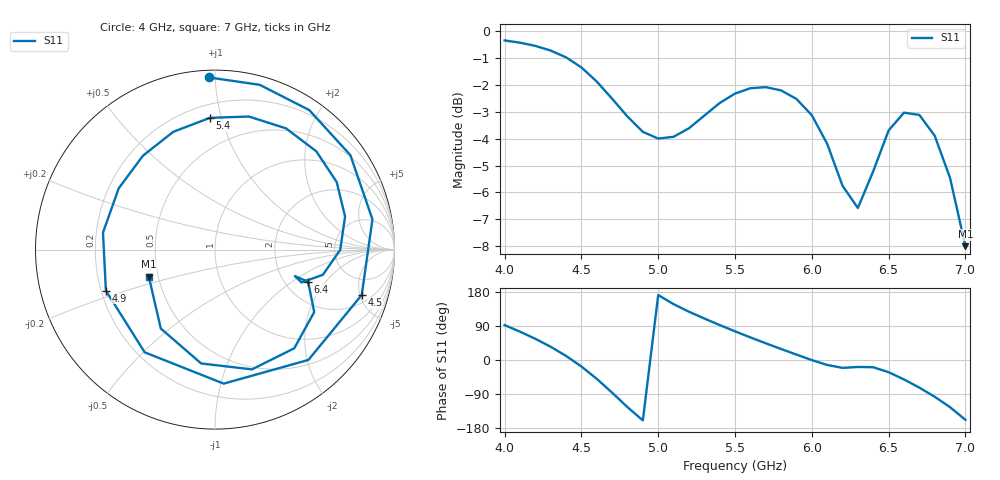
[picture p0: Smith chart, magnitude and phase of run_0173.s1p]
! Touchstone file exported from HFSS 2024.2.0
!  File:  C:/Users/wsak9/Desktop/Sim Fast/Widenad Patch/WP_AI_V1_sweep.aedt
!  Generated:  10:09:31 PM Oct 13, 2026
!  Design:  A1_model
!  Project:  WP_AI_V1_sweep
!  Setup:  Setup1
!  Solution:  Sweep
! Variables:
!  Air_gap = 2.89mm
!  Curve_Amp1 = 2.77
!  Curve_len1 = 1
!  Curve_pos = 10.15mm
!  Extra = 2.92mm
!  H_sub = 0.79mm
!  L_Patch = 16.3mm
!  L_Patch1 = 14.88mm
!  Sx = 3.03mm
!  Sy = 0.99mm
!  WS = 0.9mm
!  W_Patch = 18.85mm
!  W_Patch1 = 11.96mm
!Data is not renormalized
# GHz S MA
! Terminal data exported
! Port[1] = 1
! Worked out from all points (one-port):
!   31 points, 4 GHz to 7 GHz, reference per port
!   lowest |S11| = -8.0 dB at 7 GHz (marker M1), VSWR 2.32
!   |S11| at or under -10 dB: nowhere
!   S11 on the Smith chart (normalised r, x): 4 GHz: 0.04, +0.96; 4.5 GHz: 2.76, -5.20; 4.9 GHz: 0.22, -0.17; 5.4 GHz: 0.29, +0.92; 6.4 GHz: 2.65, -1.36; 7 GHz: 0.44, -0.16
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4  0.9602 92.1
4.1  0.9512 74.8
4.2  0.9382 55.9
4.3  0.9196 34.9
4.4  0.8932 10.8
4.5  0.8557 -17.2
4.6  0.8054 -49.7
4.7  0.7484 -86.3
4.8  0.6935 -124.4
4.9  0.6495 -159.4
5  0.6312 171.4
5.2  0.6595 127.5
5.4  0.7347 92.2
5.5  0.7651 75.7
5.7  0.7864 44.1
5.8  0.7755 29.0
5.9  0.7478 14.3
6  0.6975 -0.1
6.1  0.6173 -13.1
6.2  0.5157 -20.8
6.3  0.469 -18.3
6.4  0.5488 -19.0
6.5  0.6533 -32.2
6.6  0.7051 -51.2
6.7  0.6984 -72.9
6.8  0.6391 -96.9
6.9  0.5334 -124.5
7  0.3983 -157.8
